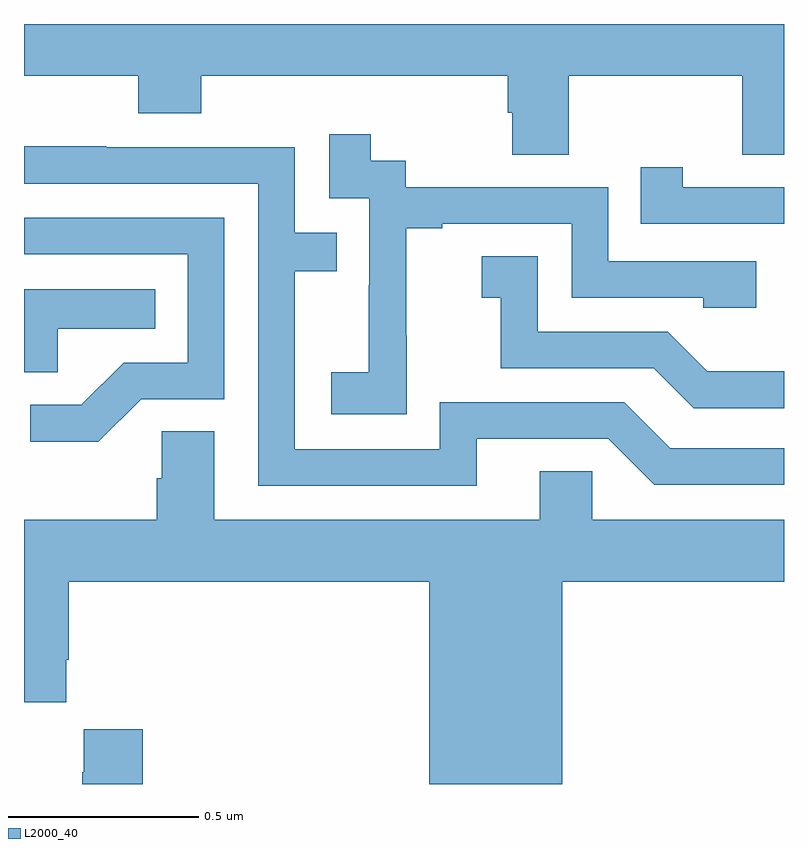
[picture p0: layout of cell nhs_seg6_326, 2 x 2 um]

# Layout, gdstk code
import gdstk
lib = gdstk.Library(unit=1e-6, precision=1e-09)
def P(c, l, *ps):  # polygons
    for p in ps: c.add(gdstk.Polygon(p, *l))
L2000_40 = (2000, 40)

nhs_seg6_326 = lib.new_cell('nhs_seg6_326')
P(nhs_seg6_326, L2000_40, [(116.433,919.364),(116.89,919.364),(116.89,919.156),(117,919.156),(117,919.5),(115,919.5),(115,919.364),(115.301,919.364),(115.301,919.265),(115.466,919.265),(115.466,919.364),(116.273,919.364),(116.273,919.266),(116.285,919.266),(116.285,919.156),(116.433,919.156)],
  [(116.007,918.679),(116.006,918.679),(116.006,918.963),(116.101,918.963),(116.101,918.975),(116.442,918.975),(116.442,918.78),(116.787,918.78),(116.787,918.753),(116.927,918.753),(116.927,918.876),(116.538,918.876),(116.538,919.071),(116.004,919.071),(116.004,919.14),(115.912,919.14),(115.912,919.21),(115.803,919.21),(115.803,919.041),(115.908,919.041),(115.908,918.812),(115.907,918.812),(115.907,918.583),(115.809,918.583),(115.809,918.473),(116.007,918.473)],
  [(116.191,918.408),(116.538,918.408),(116.658,918.288),(117,918.288),(117,918.384),(116.7,918.384),(116.58,918.504),(116.094,918.504),(116.094,918.381),(115.713,918.381),(115.713,918.85),(115.823,918.85),(115.823,918.951),(115.713,918.951),(115.713,919.176),(115.217,919.176),(115.217,919.178),(115,919.178),(115,919.08),(115.617,919.08),(115.617,918.285),(116.191,918.285)],
  [(117,919.071),(116.734,919.071),(116.734,919.123),(116.623,919.123),(116.623,918.975),(117,918.975)],
  [(115.308,918.513),(115.527,918.513),(115.527,918.99),(115,918.99),(115,918.894),(115.431,918.894),(115.431,918.609),(115.262,918.609),(115.151,918.498),(115.017,918.498),(115.017,918.401),(115.195,918.401)],
  [(117,918.586),(116.798,918.586),(116.694,918.69),(116.352,918.69),(116.352,918.889),(116.205,918.889),(116.205,918.779),(116.254,918.779),(116.254,918.594),(116.657,918.594),(116.762,918.489),(117,918.489)],
  [(115.089,918.698),(115.346,918.698),(115.346,918.802),(115,918.802),(115,918.583),(115.089,918.583)],
  [(116.416,918.032),(117,918.032),(117,918.196),(116.496,918.196),(116.496,918.323),(116.357,918.323),(116.357,918.196),(115.501,918.196),(115.501,918.428),(115.362,918.428),(115.362,918.305),(115.349,918.305),(115.349,918.196),(115,918.196),(115,917.715),(115.111,917.715),(115.111,917.827),(115.118,917.827),(115.118,918.032),(116.066,918.032),(116.066,917.5),(116.416,917.5)],
  [(115.313,917.644),(115.157,917.644),(115.157,917.531),(115.153,917.531),(115.153,917.5),(115.313,917.5)])

lib.write_gds('nhs_seg6_326.gds')
